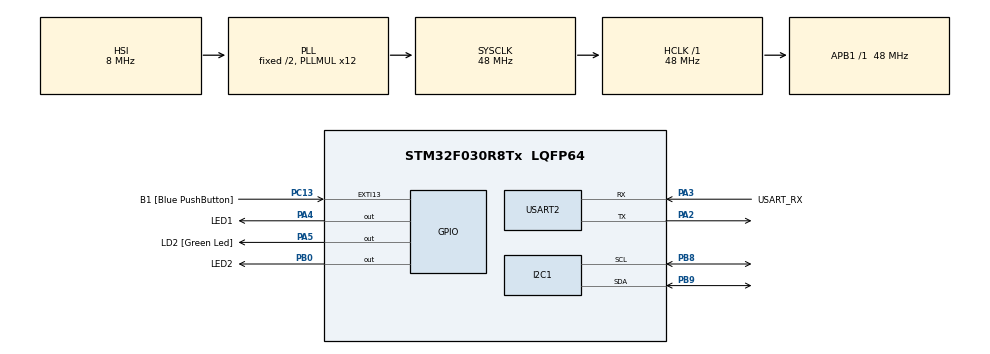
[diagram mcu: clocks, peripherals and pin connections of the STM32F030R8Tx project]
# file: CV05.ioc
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Dma.Request0=USART2_RX
Dma.USART2_RX.0.Direction=DMA_PERIPH_TO_MEMORY
Dma.USART2_RX.0.Instance=DMA1_Channel5
Dma.USART2_RX.0.MemDataAlignment=DMA_MDATAALIGN_BYTE
Dma.USART2_RX.0.MemInc=DMA_MINC_ENABLE
Dma.USART2_RX.0.Mode=DMA_CIRCULAR
Dma.USART2_RX.0.PeriphDataAlignment=DMA_PDATAALIGN_BYTE
Dma.USART2_RX.0.PeriphInc=DMA_PINC_DISABLE
Dma.USART2_RX.0.Priority=DMA_PRIORITY_LOW
Mcu.Family=STM32F0
Mcu.Name=STM32F030R8Tx
Mcu.Package=LQFP64
NVIC.DMA1_Channel4_5_IRQn=true\:0\:0\:false\:false\:true\:false\:true
PA13.GPIO_Label=TMS
PA13.Mode=Serial_Wire
PA13.Signal=SYS_SWDIO
PA14.GPIO_Label=TCK
PA14.Mode=Serial_Wire
PA14.Signal=SYS_SWCLK
PA2.Mode=Asynchronous
PA2.Signal=USART2_TX
PA3.GPIO_Label=USART_RX
PA3.GPIO_Mode=GPIO_MODE_AF_PP
PA3.GPIO_PuPd=GPIO_NOPULL
PA3.GPIO_Speed=GPIO_SPEED_FREQ_LOW
PA3.Mode=Asynchronous
PA3.Signal=USART2_RX
PA4.GPIO_Label=LED1
PA4.Signal=GPIO_Output
PA5.GPIO_Label=LD2 [Green Led]
PA5.GPIO_Mode=GPIO_MODE_OUTPUT_PP
PA5.GPIO_PuPd=GPIO_NOPULL
PA5.GPIO_Speed=GPIO_SPEED_FREQ_LOW
PA5.Signal=GPIO_Output
PB0.GPIO_Label=LED2
PB0.Signal=GPIO_Output
PB8.Mode=I2C
PB8.Signal=I2C1_SCL
PB9.Mode=I2C
PB9.Signal=I2C1_SDA
PC13.GPIO_Label=B1 [Blue PushButton]
PC13.GPIO_ModeDefaultEXTI=GPIO_MODE_IT_FALLING
PC13.Signal=GPXTI13
PC14-OSC32_IN.Mode=LSE-External-Oscillator
PC14-OSC32_IN.Signal=RCC_OSC32_IN
PC15-OSC32_OUT.Mode=LSE-External-Oscillator
PC15-OSC32_OUT.Signal=RCC_OSC32_OUT
PF0-OSC_IN.Mode=HSE-External-Clock-Source
PF0-OSC_IN.Signal=RCC_OSC_IN
PF1-OSC_OUT.Signal=RCC_OSC_OUT
ProjectManager.HeapSize=0x200
ProjectManager.StackSize=0x400
ProjectManager.TargetToolchain=STM32CubeIDE
RCC.AHBFreq_Value=48000000
RCC.APB1Freq_Value=48000000
RCC.APB1TimFreq_Value=48000000
RCC.HCLKFreq_Value=48000000
RCC.PLLMUL=RCC_PLL_MUL12
RCC.SYSCLKFreq_VALUE=48000000
RCC.SYSCLKSource=RCC_SYSCLKSOURCE_PLLCLK
USART2.VirtualMode-Asynchronous=VM_ASYNC
board=NUCLEO-F030R8

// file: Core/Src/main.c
/* USER CODE BEGIN Header */
/**
  ******************************************************************************
  * @file           : main.c
  * @brief          : Main program body
  ******************************************************************************
  * @attention
  *
  * <h2><center>&copy; Copyright (c) 2020 STMicroelectronics.
  * All rights reserved.</center></h2>
  *
  * This software component is licensed by ST under BSD 3-Clause license,
  * the "License"; You may not use this file except in compliance with the
  * License. You may obtain a copy of the License at:
  *                        opensource.org/licenses/BSD-3-Clause
  *
  ******************************************************************************
  */
/* USER CODE END Header */

#include "main.h"

/* USER CODE BEGIN Includes */
#include "string.h"
#include "stdio.h"
#include "stdlib.h"
/* USER CODE END Includes */

/* USER CODE BEGIN PTD */
#define RX_BUFFER_LEN 64
#define EEPROM_ADDR 0xA0
#define CMD_BUFFER_LEN 256
static uint8_t uart_rx_buf[RX_BUFFER_LEN];
static volatile uint16_t uart_rx_read_ptr = 0;
#define uart_rx_write_ptr (RX_BUFFER_LEN - hdma_usart2_rx.Instance->CNDTR)
/* USER CODE END PTD */

I2C_HandleTypeDef hi2c1;

UART_HandleTypeDef huart2;
DMA_HandleTypeDef hdma_usart2_rx;

void SystemClock_Config(void);
static void MX_GPIO_Init(void);
static void MX_DMA_Init(void);
static void MX_USART2_UART_Init(void);
static void MX_I2C1_Init(void);
/* USER CODE BEGIN PFP */
static void uart_byte_available(uint8_t c);
static void uart_process_command(char *data);
/* USER CODE END PFP */

/* USER CODE BEGIN 0 */

int _write(int file, char const *buf, int n)
{
 /* stdout redirection to UART2 */
 HAL_UART_Transmit(&huart2, (uint8_t*)(buf), n, HAL_MAX_DELAY);
 return n;
}

static void uart_byte_available(uint8_t c)
{
 static uint16_t cnt;
 static char data[CMD_BUFFER_LEN];

 if ((c >= 32)&&(c <= 126))
 if (cnt < CMD_BUFFER_LEN) data[cnt++] = c;
 if (c == '\n' || c == '\r') {
 data[cnt] = '\0';
 uart_process_command(data);
 cnt = 0;
 }
}
static void uart_process_command(char *data)
{
	char *token;
	token = strtok(data, " ");
	if (strcasecmp(token, "HELLO") == 0) {
	 printf("Nazdar\n");
	}
	else if (strcasecmp(token,"LED1") == 0)
	{
		token = strtok(NULL, " ");
		if (strcasecmp(token, "ON") == 0)
		{
			HAL_GPIO_WritePin(LED1_GPIO_Port, LED1_Pin, 1);
			printf("led1 on\n");
		}
		else if (strcasecmp(token,"OFF") == 0)
		{
			HAL_GPIO_WritePin(LED1_GPIO_Port, LED1_Pin, 0);
			printf("led1 off\n");
		}
	}
	else if (strcasecmp(token,"LED2") == 0)
	{
		token = strtok(NULL, " ");
		if (strcasecmp(token, "ON") == 0)
		{
			HAL_GPIO_WritePin(LED2_GPIO_Port, LED2_Pin, 1);
			printf("led2 on\n");
		}
		else if (strcasecmp(token,"OFF") == 0)
		{
			HAL_GPIO_WritePin(LED2_GPIO_Port, LED2_Pin, 0);
			printf("led2 off\n");
		}
	}
	else if (strcasecmp(token,"STATUS") == 0)
		{
			if ( HAL_GPIO_ReadPin(LED1_GPIO_Port, LED1_Pin) == 1) {printf("led1 on\n");}
			if ( HAL_GPIO_ReadPin(LED1_GPIO_Port, LED1_Pin) == 0) {printf("led1 off\n");}
			if ( HAL_GPIO_ReadPin(LED2_GPIO_Port, LED2_Pin) == 1) {printf("led2 on\n");}
			if ( HAL_GPIO_ReadPin(LED2_GPIO_Port, LED2_Pin) == 0) {printf("led2 off\n");}
		}
	else if (strcasecmp(token,"READ") == 0)
		{
		uint8_t adresa;
		uint8_t hod;
		token = strtok(NULL, " ");
		adresa = atol(token);
		hod = HAL_I2C_Mem_Read(&hi2c1, EEPROM_ADDR, adresa, I2C_MEMADD_SIZE_16BIT, &adresa, 1, 10000);
		printf("adresa\n",adresa, hod);
		}

	else if (strcasecmp(token,"WRITE") == 0)
		{
		while (HAL_I2C_IsDeviceReady(&hi2c1, EEPROM_ADDR, 300, 1000) == HAL_TIMEOUT)
		{
//			data = HAL_I2C_Mem_Write();
		}
		}
	else if (strcasecmp(token,"DUMP") == 0)
		{
		while (HAL_I2C_IsDeviceReady(&hi2c1, EEPROM_ADDR, 300, 1000) == HAL_TIMEOUT)
		{

		}
		}

//	printf("prijato: '%s'\n", data);
}

/* USER CODE END 0 */

int main(void)
{

  /* MCU Configuration--------------------------------------------------------*/

  /* Reset of all peripherals, Initializes the Flash interface and the Systick. */
  HAL_Init();

  /* Configure the system clock */
  SystemClock_Config();

  /* Initialize all configured peripherals */
  MX_GPIO_Init();
  MX_DMA_Init();
  MX_USART2_UART_Init();
  MX_I2C1_Init();
  /* USER CODE BEGIN 2 */
  HAL_UART_Receive_DMA(&huart2, uart_rx_buf, RX_BUFFER_LEN);
  /* USER CODE END 2 */

  /* Infinite loop */
  /* USER CODE BEGIN WHILE */
  while (1)
  {
		while (uart_rx_read_ptr != uart_rx_write_ptr) {
		 uint8_t b = uart_rx_buf[uart_rx_read_ptr];
		 if (++uart_rx_read_ptr >= RX_BUFFER_LEN) uart_rx_read_ptr = 0; // increase read pointer
		 uart_byte_available(b); // process every received byte with the RX state machine
		}

	  uint8_t c;
	//  HAL_UART_Receive(&huart2, &c, 1, HAL_MAX_DELAY);
	//  HAL_UART_Transmit(&huart2, &c, 1, HAL_MAX_DELAY);
    /* USER CODE END WHILE */

  }
}

void SystemClock_Config(void)
{
  RCC_OscInitTypeDef RCC_OscInitStruct = {0};
  RCC_ClkInitTypeDef RCC_ClkInitStruct = {0};
  RCC_PeriphCLKInitTypeDef PeriphClkInit = {0};

  /** Initializes the CPU, AHB and APB busses clocks
  */
  RCC_OscInitStruct.OscillatorType = RCC_OSCILLATORTYPE_HSI;
  RCC_OscInitStruct.HSIState = RCC_HSI_ON;
  RCC_OscInitStruct.HSICalibrationValue = RCC_HSICALIBRATION_DEFAULT;
  RCC_OscInitStruct.PLL.PLLState = RCC_PLL_ON;
  RCC_OscInitStruct.PLL.PLLSource = RCC_PLLSOURCE_HSI;
  RCC_OscInitStruct.PLL.PLLMUL = RCC_PLL_MUL12;
  RCC_OscInitStruct.PLL.PREDIV = RCC_PREDIV_DIV1;
  if (HAL_RCC_OscConfig(&RCC_OscInitStruct) != HAL_OK)
  {
    Error_Handler();
  }
  /** Initializes the CPU, AHB and APB busses clocks
  */
  RCC_ClkInitStruct.ClockType = RCC_CLOCKTYPE_HCLK|RCC_CLOCKTYPE_SYSCLK
                              |RCC_CLOCKTYPE_PCLK1;
  RCC_ClkInitStruct.SYSCLKSource = RCC_SYSCLKSOURCE_PLLCLK;
  RCC_ClkInitStruct.AHBCLKDivider = RCC_SYSCLK_DIV1;
  RCC_ClkInitStruct.APB1CLKDivider = RCC_HCLK_DIV1;

  if (HAL_RCC_ClockConfig(&RCC_ClkInitStruct, FLASH_LATENCY_1) != HAL_OK)
  {
    Error_Handler();
  }
  PeriphClkInit.PeriphClockSelection = RCC_PERIPHCLK_I2C1;
  PeriphClkInit.I2c1ClockSelection = RCC_I2C1CLKSOURCE_HSI;
  if (HAL_RCCEx_PeriphCLKConfig(&PeriphClkInit) != HAL_OK)
  {
    Error_Handler();
  }
}

static void MX_I2C1_Init(void)
{

  hi2c1.Instance = I2C1;
  hi2c1.Init.Timing = 0x2000090E;
  hi2c1.Init.OwnAddress1 = 0;
  hi2c1.Init.AddressingMode = I2C_ADDRESSINGMODE_7BIT;
  hi2c1.Init.DualAddressMode = I2C_DUALADDRESS_DISABLE;
  hi2c1.Init.OwnAddress2 = 0;
  hi2c1.Init.OwnAddress2Masks = I2C_OA2_NOMASK;
  hi2c1.Init.GeneralCallMode = I2C_GENERALCALL_DISABLE;
  hi2c1.Init.NoStretchMode = I2C_NOSTRETCH_DISABLE;
  if (HAL_I2C_Init(&hi2c1) != HAL_OK)
  {
    Error_Handler();
  }
  /** Configure Analogue filter
  */
  if (HAL_I2CEx_ConfigAnalogFilter(&hi2c1, I2C_ANALOGFILTER_ENABLE) != HAL_OK)
  {
    Error_Handler();
  }
  /** Configure Digital filter
  */
  if (HAL_I2CEx_ConfigDigitalFilter(&hi2c1, 0) != HAL_OK)
  {
    Error_Handler();
  }

}

static void MX_USART2_UART_Init(void)
{

  huart2.Instance = USART2;
  huart2.Init.BaudRate = 38400;
  huart2.Init.WordLength = UART_WORDLENGTH_8B;
  huart2.Init.StopBits = UART_STOPBITS_1;
  huart2.Init.Parity = UART_PARITY_NONE;
  huart2.Init.Mode = UART_MODE_TX_RX;
  huart2.Init.HwFlowCtl = UART_HWCONTROL_NONE;
  huart2.Init.OverSampling = UART_OVERSAMPLING_16;
  huart2.Init.OneBitSampling = UART_ONE_BIT_SAMPLE_DISABLE;
  huart2.AdvancedInit.AdvFeatureInit = UART_ADVFEATURE_NO_INIT;
  if (HAL_UART_Init(&huart2) != HAL_OK)
  {
    Error_Handler();
  }

}

static void MX_DMA_Init(void)
{

  /* DMA controller clock enable */
  __HAL_RCC_DMA1_CLK_ENABLE();

  /* DMA interrupt init */
  /* DMA1_Channel4_5_IRQn interrupt configuration */
  HAL_NVIC_SetPriority(DMA1_Channel4_5_IRQn, 0, 0);
  HAL_NVIC_EnableIRQ(DMA1_Channel4_5_IRQn);

}

static void MX_GPIO_Init(void)
{
  GPIO_InitTypeDef GPIO_InitStruct = {0};

  /* GPIO Ports Clock Enable */
  __HAL_RCC_GPIOC_CLK_ENABLE();
  __HAL_RCC_GPIOF_CLK_ENABLE();
  __HAL_RCC_GPIOA_CLK_ENABLE();
  __HAL_RCC_GPIOB_CLK_ENABLE();

  /*Configure GPIO pin Output Level */
  HAL_GPIO_WritePin(GPIOA, LED1_Pin|LD2_Pin, GPIO_PIN_RESET);

  /*Configure GPIO pin Output Level */
  HAL_GPIO_WritePin(LED2_GPIO_Port, LED2_Pin, GPIO_PIN_RESET);

  /*Configure GPIO pin : B1_Pin */
  GPIO_InitStruct.Pin = B1_Pin;
  GPIO_InitStruct.Mode = GPIO_MODE_IT_FALLING;
  GPIO_InitStruct.Pull = GPIO_NOPULL;
  HAL_GPIO_Init(B1_GPIO_Port, &GPIO_InitStruct);

  /*Configure GPIO pins : LED1_Pin LD2_Pin */
  GPIO_InitStruct.Pin = LED1_Pin|LD2_Pin;
  GPIO_InitStruct.Mode = GPIO_MODE_OUTPUT_PP;
  GPIO_InitStruct.Pull = GPIO_NOPULL;
  GPIO_InitStruct.Speed = GPIO_SPEED_FREQ_LOW;
  HAL_GPIO_Init(GPIOA, &GPIO_InitStruct);

  /*Configure GPIO pin : LED2_Pin */
  GPIO_InitStruct.Pin = LED2_Pin;
  GPIO_InitStruct.Mode = GPIO_MODE_OUTPUT_PP;
  GPIO_InitStruct.Pull = GPIO_NOPULL;
  GPIO_InitStruct.Speed = GPIO_SPEED_FREQ_LOW;
  HAL_GPIO_Init(LED2_GPIO_Port, &GPIO_InitStruct);

}

void Error_Handler(void)
{
}

/************************ (C) COPYRIGHT STMicroelectronics *****END OF FILE****/
